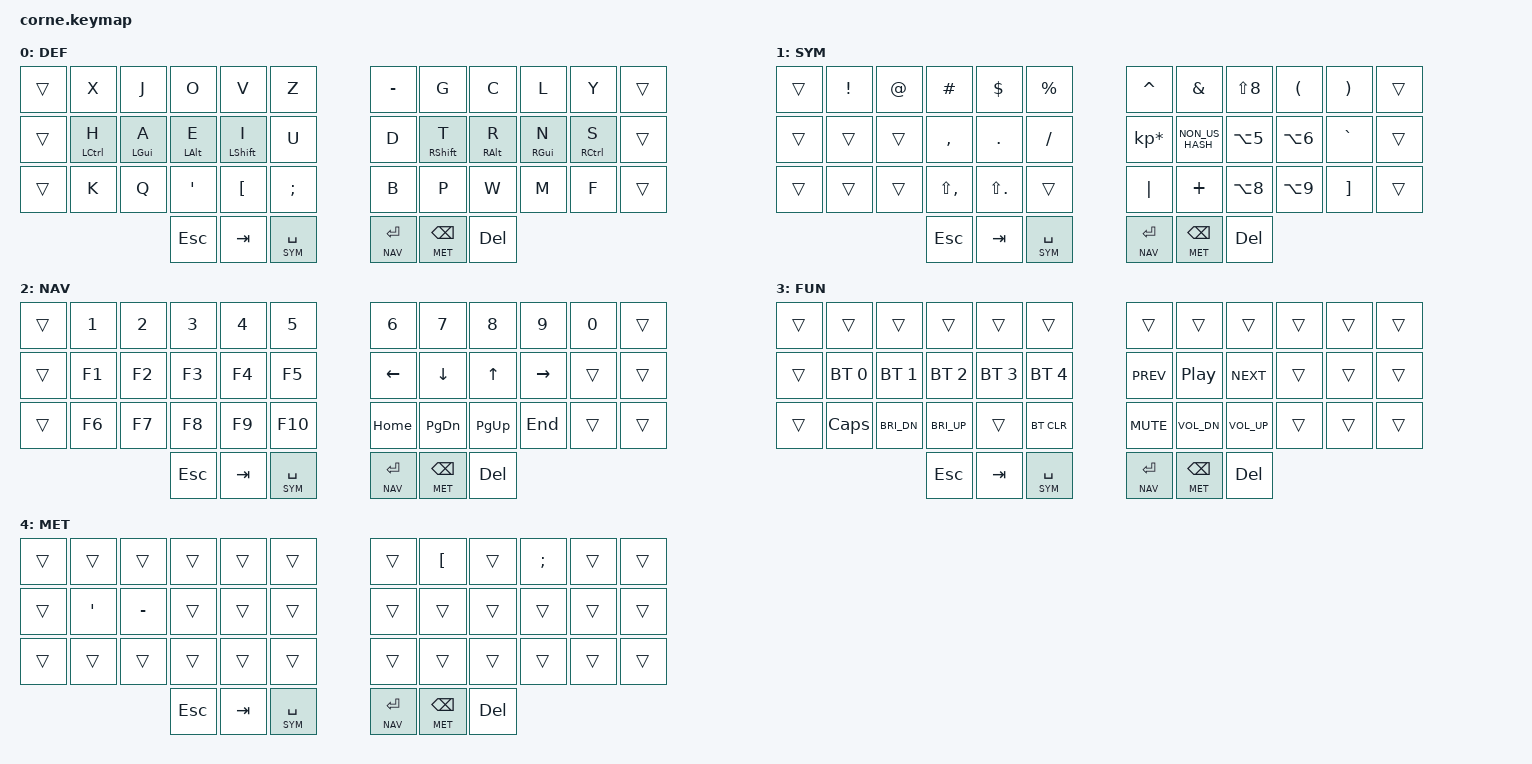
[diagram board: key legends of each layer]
/*
 * Copyright (c) 2020 The ZMK Contributors
 *
 * SPDX-License-Identifier: MIT
 */

#include <behaviors.dtsi>
#include <dt-bindings/zmk/keys.h>
#include <dt-bindings/zmk/bt.h>

#define DEF 0
#define SYM 1
#define NAV 2
#define FUN 3
#define MET 4

#include "combos.dtsi"

&mt {
    flavor = "hold-preferred";
    tapping-term-ms = <150>;
};

&lt {
    flavor = "balanced";
    tapping-term-ms = <150>;
};

//&caps_word {
//    continue-list = <UNDERSCORE MINUS BSPC DEL N1 N2 N3 N4 N5 N6 N7 N8 N9 N0>;
//};

/ {
    behaviors {
        am: alpha_mods {
            compatible = "zmk,behavior-hold-tap";
            label = "ALPHA_MT";
            #binding-cells = <2>;
            tapping-term-ms = <200>;
            quick-tap-ms = <150>;
            flavor = "balanced";
            bindings = <&kp>, <&kp>;
        };
        as: alpha_shift {
            compatible = "zmk,behavior-hold-tap";
            label = "ALPHA_SFT";
            #binding-cells = <2>;
            tapping-term-ms = <200>;
            quick-tap-ms = <150>;
            flavor = "balanced";
            bindings = <&kp>, <&kp>;
        };

        // Easy alt-tab with alt+backspace thumb using mod-morphs
        bstab: backspace_tab {
            compatible = "zmk,behavior-mod-morph";
            label = "BSPC_TAB";
            #binding-cells = <0>;
            bindings = <&kp BSPC>, <&kp TAB>;
            mods = <MOD_LALT>;
        };
        lt_bspc: layer_tap_backspace_tab {
            compatible = "zmk,behavior-hold-tap";
            label = "LT_BT";
            #binding-cells = <2>;
            tapping-term-ms = <150>;
            flavor = "balanced";
            bindings = <&mo>, <&bstab>;
        };
    };

    cond_layers {
        compatible = "zmk,conditional-layers";
        // Define FUN layer as tri-state
        func_tristate {
            if-layers = <NAV SYM>;
            then-layer = <FUN>;
        };
    };

    macros {
        ZMK_MACRO(inv_qm,
            wait-ms = <10>;
            tap-ms = <10>;
            bindings
                = <&macro_press &kp LALT>
                , <&macro_tap &kp KP_N1 &kp KP_N6 &kp KP_N8>
                , <&macro_release &kp LALT>;
        )
    };

        keymap {
                compatible = "zmk,keymap";


// ╭─────────────┬─────────────┬─────────────┬─────────────┬─────────────╮   ╭─────────────┬─────────────┬─────────────┬─────────────┬─────────────╮
// ├─────────────┼─────────────┼─────────────┼─────────────┼─────────────┤   ├─────────────┼─────────────┼─────────────┼─────────────┼─────────────┤
// ├─────────────┼─────────────┼─────────────┼─────────────┼─────────────┤   ├─────────────┼─────────────┼─────────────┼─────────────┼─────────────┤
// ╰─────────────┴─────────────┴─────────────┼─────────────┼─────────────┤   ├─────────────┼─────────────┼─────────────┴─────────────┴─────────────╯
//                             ╰─────────────┴─────────────┴─────────────╯   ╰─────────────┴─────────────┴─────────────╯

                default_layer {
// -----------------------------------------------------------------------------------------
// |  |  X         |    J        |  O        |  V       |  Y  |      |  ß  |  G          |  C        |  L        |   Z        | |
// |  |  CTRL / H  |  GUI / A  |  ALT / E  |  SHFT / I  |  U  |      |  D  |  SHFT / T   |  ALT / R  |  GUI / N  |  CTRL / S  | |
// |  |  K         |  Q        |  Ä        |  Ü         |  Ö  |      |  B  |  P          |  W        |  M        |  F         | |
//                                  | ESC | TAB | SYM / SPC  |            | NAV / ENT | MET / BKSP  | DEL |
                        label = "DEF";
                        bindings = <
// ╭─────────────┬─────────────┬─────────────┬─────────────┬─────────────┬─────────────╮   ╭─────────────┬─────────────┬─────────────┬─────────────┬─────────────┬─────────────╮
    &trans        &kp X             &kp J      &kp O         &kp V        &kp Z             &kp MINUS    &kp G        &kp C         &kp L          &kp Y         &trans
// ├─────────────┼─────────────┼─────────────┼─────────────┼─────────────┼─────────────┤   ├─────────────┼─────────────┼─────────────┼─────────────┼─────────────┼─────────────┤
    &trans        &am LCTRL H   &am LGUI A    &am LALT E    &as LSHFT I   &kp U             &kp D          &as RSHFT T   &am RALT R   &am RGUI N    &am RCTRL S    &trans
// ├─────────────┼─────────────┼─────────────┼─────────────┼─────────────┼─────────────┤   ├─────────────┼─────────────┼─────────────┼─────────────┼─────────────┼─────────────┤
    &trans        &kp K         &kp Q         &kp SQT        &kp LBKT       &kp SEMI         &kp B          &kp P        &kp W           &kp M       &kp F      &trans
// ╰─────────────┴─────────────┴─────────────┼─────────────┼─────────────┼─────────────┤   ├─────────────┼─────────────┼─────────────┼─────────────┴─────────────┴─────────────╯
                                              &kp ESC       &kp TAB       &lt SYM SPACE     &lt NAV RET   &lt MET BSPC  &kp DEL
//                                           ╰─────────────┴─────────────┴─────────────╯   ╰─────────────┴─────────────┴─────────────╯

                        >;
                };

                symbol_layer {
// -----------------------------------------------------------------------------------------
// |  |  !  |  "  |  §  |  $  |  %  |   |  & |  /  |  (  |  )  |  =  |    |
//    |     |     |     |     |     |   |  * |  #  |  [  |  ]   |  <  |   |
// |  |     |     |     |     |     |   | '  |  `  |  {  |  }   |  +  |  |
//        | ESC | TAB | SYM / SPC  |            | NAV / ENT | MET / BKSP  | DEL |
                    label = "SYM";
                    bindings = <
// ╭─────────────┬─────────────┬─────────────┬─────────────┬─────────────┬─────────────╮   ╭─────────────┬─────────────┬─────────────┬─────────────┬─────────────┬─────────────╮
    &trans        &kp EXCL      &kp AT        &kp HASH      &kp DLLR      &kp PRCNT         &kp CARET     &kp AMPS      &kp LS(N8)     &kp LPAR     &kp RPAR       &trans
// ├─────────────┼─────────────┼─────────────┼─────────────┼─────────────┼─────────────┤   ├─────────────┼─────────────┼─────────────┼─────────────┼─────────────┼─────────────┤
    &trans        &trans        &trans        &kp COMMA        &kp DOT     &kp FSLH            &kp KP_MULTIPLY &kp NON_US_HASH &kp LA(N5) &kp LA(N6)  &kp GRAVE      &trans
// ├─────────────┼─────────────┼─────────────┼─────────────┼─────────────┼─────────────┤   ├─────────────┼─────────────┼─────────────┼─────────────┼─────────────┼─────────────┤
    &trans        &trans        &trans        &kp LS(COMMA)     &kp LS(DOT)        &trans            &kp PIPE      &kp PLUS      &kp LA(N8)    &kp LA(N9)    &kp RBKT      &trans
// ╰─────────────┴─────────────┴─────────────┼─────────────┼─────────────┼─────────────┤   ├─────────────┼─────────────┼─────────────┼─────────────┴─────────────┴─────────────╯
                                              &kp ESC       &kp TAB       &lt SYM SPACE     &lt NAV RET   &lt MET BSPC  &kp DEL
//                                           ╰─────────────┴─────────────┴─────────────╯   ╰─────────────┴─────────────┴─────────────╯
                      >;
                };

                navigation_layer {
// -----------------------------------------------------------------------------------------
// | |  1  |  2  |  3  |  4  |  5  |   |  6   |  7  | 8   |  9  |  0  |      |
// | | F1  | F2  | F3  | F4  | F5  |   | LFT  | DWN | UP  | RGT |     |      |
// | | F6  | F7  | F8  | F9  | F10 |   | home | PDN | PUP | END |     |      |
//        | ESC | TAB | SYM / SPC  |            | NAV / ENT | MET / BKSP  | DEL |
                    label = "NAV";
                    bindings = <
// ╭─────────────┬─────────────┬─────────────┬─────────────┬─────────────┬─────────────╮   ╭─────────────┬─────────────┬─────────────┬─────────────┬─────────────┬─────────────╮
    &trans        &kp N1        &kp N2        &kp N3        &kp N4         &kp N5           &kp N6        &kp N7        &kp N8        &kp N9         &kp N0       &trans
// ├─────────────┼─────────────┼─────────────┼─────────────┼─────────────┼─────────────┤   ├─────────────┼─────────────┼─────────────┼─────────────┼─────────────┼─────────────┤
    &trans        &kp F1        &kp F2        &kp F3        &kp F4        &kp F5            &kp LEFT      &kp DOWN      &kp UP        &kp RIGHT     &trans        &trans
// ├─────────────┼─────────────┼─────────────┼─────────────┼─────────────┼─────────────┤   ├─────────────┼─────────────┼─────────────┼─────────────┼─────────────┼─────────────┤
    &trans        &kp F6        &kp F7        &kp F8        &kp F9        &kp F10           &kp HOME      &kp PG_DN     &kp PG_UP     &kp END       &trans        &trans
// ╰─────────────┴─────────────┴─────────────┼─────────────┼─────────────┼─────────────┤   ├─────────────┼─────────────┼─────────────┼─────────────┴─────────────┴─────────────╯
                                              &kp ESC       &kp TAB       &lt SYM SPACE     &lt NAV RET   &lt MET BSPC  &kp DEL
//                                           ╰─────────────┴─────────────┴─────────────╯   ╰─────────────┴─────────────┴─────────────╯
                        >;
                };

                function_layer {
                    label = "FUN";
                    bindings = <
// ╭─────────────┬─────────────┬─────────────┬─────────────┬─────────────┬─────────────╮   ╭─────────────┬─────────────┬─────────────┬─────────────┬─────────────┬─────────────╮
    &trans        &trans        &trans        &trans        &trans        &trans             &trans        &trans        &trans       &trans        &trans        &trans
// ├─────────────┼─────────────┼─────────────┼─────────────┼─────────────┼─────────────┤   ├─────────────┼─────────────┼─────────────┼─────────────┼─────────────┼─────────────┤
    &trans        &bt BT_SEL 0  &bt BT_SEL 1  &bt BT_SEL 2  &bt BT_SEL 3  &bt BT_SEL 4      &kp C_PREV    &kp C_PP      &kp C_NEXT  &trans        &trans        &trans
// ├─────────────┼─────────────┼─────────────┼─────────────┼─────────────┼─────────────┤   ├─────────────┼─────────────┼─────────────┼─────────────┼─────────────┼─────────────┤
    &trans        &kp CAPS      &kp C_BRI_DN  &kp C_BRI_UP  &trans        &bt BT_CLR        &kp C_MUTE    &kp C_VOL_DN &kp C_VOL_UP        &trans        &trans        &trans
// ╰─────────────┴─────────────┴─────────────┼─────────────┼─────────────┼─────────────┤   ├─────────────┼─────────────┼─────────────┼─────────────┴─────────────┴─────────────╯
                                              &kp ESC       &kp TAB       &lt SYM SPACE     &lt NAV RET   &lt MET BSPC  &kp DEL
//                                           ╰─────────────┴─────────────┴─────────────╯   ╰─────────────┴─────────────┴─────────────╯
                        >;
                };
                metall_layer {
                    label = "MET";
                    bindings = <
// ╭─────────────┬─────────────┬─────────────┬─────────────┬─────────────┬─────────────╮   ╭─────────────┬─────────────┬─────────────┬─────────────┬─────────────┬─────────────╮
    &trans        &trans        &trans        &trans        &trans        &trans              &trans        &kp LBKT        &trans        &kp SEMI        &trans        &trans
// ├─────────────┼─────────────┼─────────────┼─────────────┼─────────────┼─────────────┤   ├─────────────┼─────────────┼─────────────┼─────────────┼─────────────┼─────────────┤
    &trans        &kp SQT        &kp MINUS     &trans        &trans        &trans              &trans        &trans        &trans        &trans        &trans        &trans
// ├─────────────┼─────────────┼─────────────┼─────────────┼─────────────┼─────────────┤   ├─────────────┼─────────────┼─────────────┼─────────────┼─────────────┼─────────────┤
    &trans        &trans        &trans        &trans        &trans        &trans              &trans        &trans        &trans        &trans        &trans        &trans
// ╰─────────────┴─────────────┴─────────────┼─────────────┼─────────────┼─────────────┤   ├─────────────┼─────────────┼─────────────┼─────────────┴─────────────┴─────────────╯
                                              &kp ESC       &kp TAB       &lt SYM SPACE     &lt NAV RET   &lt MET BSPC  &kp DEL
//                                           ╰─────────────┴─────────────┴─────────────╯   ╰─────────────┴─────────────┴─────────────╯
                        >;
                };
        };
};
